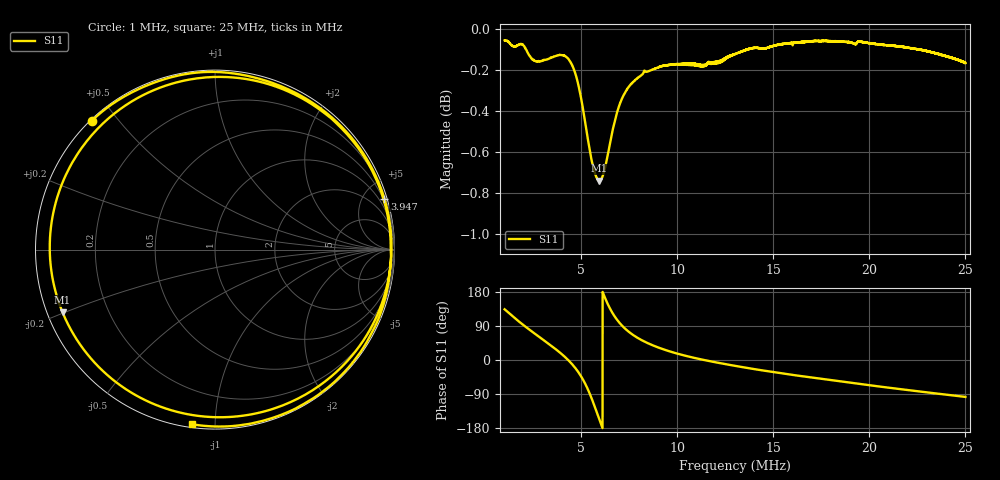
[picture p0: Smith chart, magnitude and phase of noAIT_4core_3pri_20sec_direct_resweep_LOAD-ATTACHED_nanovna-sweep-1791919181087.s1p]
! NanoVNA Web complex sweep
! Processing: unaveraged complex samples; linear segment spacing; no smoothing
# Hz S RI R 50
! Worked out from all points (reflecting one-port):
!   5050 points, 1 MHz to 25 MHz, reference 50 ohm
!   lowest |S11| = -0.7 dB at 5.938 MHz (marker M1), VSWR 23.52, Z = 2.21 - j9.87 ohm
!   phase of S11 starts at 134 deg and turns -591 deg over the sweep
!   S11 on the Smith chart (normalised r, x): 1 MHz: 0.00, +0.43; 3.947 MHz: 0.35, +6.77; 25 MHz: 0.02, -0.88
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1000000  -0.6878 0.7168
1708197  -0.2248 0.965
2354605  0.2101 0.9613
3153109  0.6584 0.7296
3946860  0.9434 0.2843
4003896  0.9548 0.2432
4426913  0.9759 -0.1054
4769129  0.8662 -0.4412
5059062  0.6201 -0.7295
5339489  0.1982 -0.9187
5486832  -0.0888 -0.927
5629422  -0.3792 -0.8434
5772012  -0.64 -0.6615
5938367  -0.8493 -0.3496
6176017  -0.9103 0.1526
6470703  -0.6908 0.6329
6717859  -0.4168 0.8523
7003039  -0.1159 0.9518
7554387  0.3157 0.9162
8200795  0.6174 0.7547
9004052  0.8208 0.5327
1.000218e7  0.9387 0.2824
1.126173e7  0.9789 0.0234
1.300132e7  0.9504 -0.2621
1.600047e7  0.7664 -0.6278
1.899961e7  0.4952 -0.8599
2.199875e7  0.184 -0.9722
2.49979e7  -0.126 -0.9728
